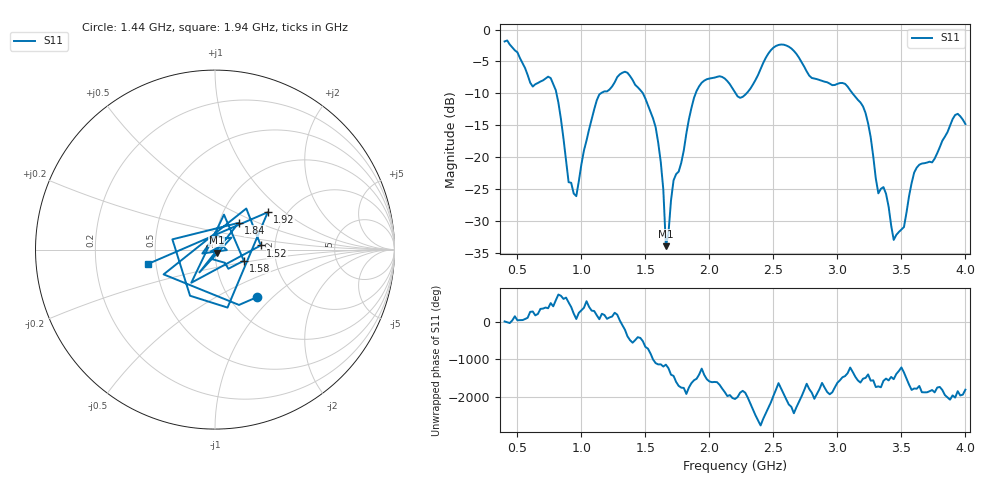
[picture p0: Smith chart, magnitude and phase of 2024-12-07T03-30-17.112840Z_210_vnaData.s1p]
!Created with skrf (http://scikit-rf.org).
# Hz S RI R 50.0
!freq ReS11 ImS11
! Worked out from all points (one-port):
!   181 points, 400 MHz to 4 GHz, reference 50 ohm
!   lowest |S11| = -33.9 dB at 1.66 GHz (marker M1), VSWR 1.04, Z = 50.9 - j1.81 ohm
!   |S11| at or under -10 dB: 805.2 MHz to 1.151 GHz (346.1 MHz wide, 35.4 % of centre); 1.481 GHz to 1.893 GHz (411.8 MHz wide, 24.4 % of centre); 3.118 GHz to end of sweep (the widest 3 of 4)
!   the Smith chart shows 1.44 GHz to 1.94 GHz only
!   S11 on the Smith chart (normalised r, x): 1.44 GHz: 1.33, -0.81; 1.52 GHz: 1.68, +0.08; 1.58 GHz: 1.37, -0.17; 1.84 GHz: 1.24, +0.38; 1.92 GHz: 1.61, +0.77; 1.94 GHz: 0.45, -0.08
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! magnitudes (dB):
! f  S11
! 400 MHz  -1.9
! 620 MHz  -8.9
! 760 MHz  -7.6
! 860 MHz  -17.1
! 900 MHz  -23.9
! 960 MHz  -26.1
! 1.12 GHz  -11.1
! 1.3 GHz  -7.0
! 1.44 GHz  -9.0
! 1.52 GHz  -11.8
! 1.58 GHz  -15.3
! 1.64 GHz  -25.1
! 1.66 GHz  -33.9
! 1.72 GHz  -23.6
! 1.76 GHz  -22.2
! 1.84 GHz  -14.0
! 1.92 GHz  -8.9
! 1.94 GHz  -8.3
! 2.2 GHz  -9.9
! 2.66 GHz  -3.3
! 3.1 GHz  -9.5
! 3.22 GHz  -13.1
! 3.32 GHz  -25.6
! 3.38 GHz  -25.7
! 3.44 GHz  -32.9
! 3.56 GHz  -26.1
! 3.92 GHz  -13.4
! 4 GHz  -14.8
